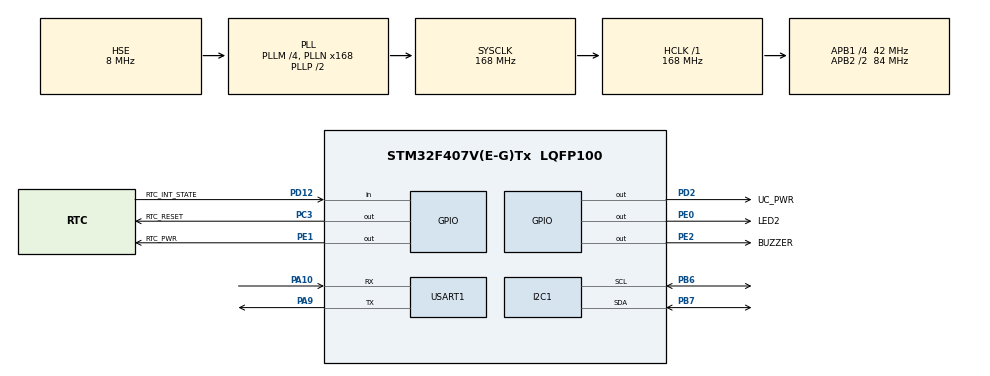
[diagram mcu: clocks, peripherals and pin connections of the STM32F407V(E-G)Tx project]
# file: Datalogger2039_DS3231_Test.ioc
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Mcu.Family=STM32F4
RCC.PLLSourceVirtual=RCC_PLLSOURCE_HSE
PD12.GPIO_Label=RTC_INT_STATE
PH0-OSC_IN.Signal=RCC_OSC_IN
RCC.CortexFreq_Value=168000000
PA10.Mode=Asynchronous
PE2.GPIO_Speed=GPIO_SPEED_FREQ_VERY_HIGH
PD2.GPIO_Speed=GPIO_SPEED_FREQ_VERY_HIGH
RCC.APB1CLKDivider=RCC_HCLK_DIV4
PC3.GPIO_Speed=GPIO_SPEED_FREQ_VERY_HIGH
RCC.SYSCLKSource=RCC_SYSCLKSOURCE_PLLCLK
ProjectManager.StackSize=0x400
PC3.PinState=GPIO_PIN_SET
PE0.GPIO_Speed=GPIO_SPEED_FREQ_VERY_HIGH
PA9.Mode=Asynchronous
ProjectManager.TargetToolchain=STM32CubeIDE
I2C1.I2C_Mode=I2C_Fast
RCC.HCLKFreq_Value=168000000
RCC.APB2TimFreq_Value=168000000
PA9.Signal=USART1_TX
PB6.Signal=I2C1_SCL
PB6.Mode=I2C
PC3.Signal=GPIO_Output
PE1.Signal=GPIO_Output
RCC.LSE_VALUE=32768
RCC.AHBFreq_Value=168000000
PH0-OSC_IN.Mode=HSE-External-Oscillator
RCC.HSE_VALUE=8000000
PD2.PinState=GPIO_PIN_SET
board=custom
RCC.VCOOutputFreq_Value=336000000
PE1.GPIO_Label=RTC_PWR
RCC.APB2Freq_Value=84000000
PE1.GPIO_Speed=GPIO_SPEED_FREQ_VERY_HIGH
PH1-OSC_OUT.Signal=RCC_OSC_OUT
PE2.Signal=GPIO_Output
PB7.Signal=I2C1_SDA
Mcu.Name=STM32F407V(E-G)Tx
PE0.Signal=GPIO_Output
PH1-OSC_OUT.Mode=HSE-External-Oscillator
RCC.48MHZClocksFreq_Value=84000000
RCC.SYSCLKFreq_VALUE=168000000
Mcu.Package=LQFP100
PD12.Signal=GPIO_Input
USART1.VirtualMode=VM_ASYNC
PB7.Mode=I2C
PA10.Signal=USART1_RX
ProjectManager.HeapSize=0x200
PE0.GPIO_Label=LED2
RCC.HSI_VALUE=16000000
NVIC.PriorityGroup=NVIC_PRIORITYGROUP_4
RCC.APB2CLKDivider=RCC_HCLK_DIV2
RCC.PLLM=4
RCC.PLLN=168
RCC.APB1TimFreq_Value=84000000
PC3.GPIO_Label=RTC_RESET
PC3.GPIO_ModeDefaultOutputPP=GPIO_MODE_OUTPUT_OD
PD2.Signal=GPIO_Output
RCC.APB1Freq_Value=42000000
PE2.GPIO_Label=BUZZER
PD2.GPIO_Label=UC_PWR

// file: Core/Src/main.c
/* USER CODE BEGIN Header */
/**
 ******************************************************************************
 * @file           : main.c
 * @brief          : Main program body
 ******************************************************************************
 * @attention
 *
 * <h2><center>&copy; Copyright (c) 2021 STMicroelectronics.
 * All rights reserved.</center></h2>
 *
 * This software component is licensed by ST under BSD 3-Clause license,
 * the "License"; You may not use this file except in compliance with the
 * License. You may obtain a copy of the License at:
 *                        opensource.org/licenses/BSD-3-Clause
 *
 ******************************************************************************
 */

/* Datsheet note:
 *
 * I2C interface
 *
 * If a microcontroller connected to the DS3231 resets
 * because of a loss of VCC or other event, it is
 * possible that the microcontroller and DS3231 I2C
 * communications could become unsynchronized, e.g.,
 * the microcontroller resets while reading data from
 * the DS3231. When the microcontroller resets, the
 * DS3231 I2C interface may be placed into a known state
 * by toggling SCL until SDA is observed to be at a high level.
 */

/* USER CODE END Header */
#include "main.h"

/* USER CODE BEGIN Includes */
#include <stdio.h>
#include "DS3231.h"
/* USER CODE END Includes */

I2C_HandleTypeDef hi2c1;

UART_HandleTypeDef huart1;

/* USER CODE BEGIN PV */
volatile DS3231_Time_t tm1;
uint8_t tm1_seconds_old = 0;
uint8_t tm1_hours_old = 0;

uint32_t sysTick1000;
/* USER CODE END PV */

void SystemClock_Config(void);
static void MX_GPIO_Init(void);
static void MX_I2C1_Init(void);
static void MX_USART1_UART_Init(void);

int main(void) {

	/* MCU Configuration--------------------------------------------------------*/

	/* Reset of all peripherals, Initializes the Flash interface and the Systick. */
	HAL_Init();

	/* Configure the system clock */
	SystemClock_Config();

	/* Initialize all configured peripherals */
	MX_GPIO_Init();
	MX_I2C1_Init();
	MX_USART1_UART_Init();
	/* USER CODE BEGIN 2 */
	HAL_Delay(2000);

	UsrLog("RTC test");
	UsrLog("(After starting, turn off AC source and wait for RTC alarm)");
	UsrLog("(Need the battery to be connected and in a good state of charge)");
	UsrLog("(For turn on: AC source ou Button K1)");

	HAL_GPIO_WritePin(RTC_PWR_GPIO_Port, RTC_PWR_Pin, GPIO_PIN_SET); // I2C Power On
	UsrLog("I2C1, DS3231: Line power On");

	DS3231_init(&hi2c1);
	/* USER CODE END 2 */

	/* Infinite loop */
	while (1) {

		/* USER CODE BEGIN 3 */
		if (HAL_GetTick() >= (sysTick1000 + 1000)) {
			sysTick1000 = HAL_GetTick();

			HAL_GPIO_WritePin(RTC_PWR_GPIO_Port, RTC_PWR_Pin, GPIO_PIN_SET); // I2C Power On

			if (DS3231_GetDateTime(&tm1) == HAL_OK) {
				tm1_hours_old = tm1.minutes;
			} else {
				UsrLog("DS3231_GetDateTime ERROR");

				if (DS3231_GetDateTime(&tm1) == HAL_OK) {
					tm1_hours_old = tm1.minutes;
				} else {
					UsrLog("DS3231_GetDateTime ERROR");
					UsrLog(
							"If error persists, try removing AC power and battery");
				}
			}

			uint8_t alarmFlagBit = 0;

			if (HAL_GPIO_ReadPin(RTC_INT_STATE_GPIO_Port, RTC_INT_STATE_Pin)
					== GPIO_PIN_SET) {
				UsrLog("DS3231_Alarm flag");

				if (DS3231_Alarm(ALARM_1, &alarmFlagBit) != HAL_OK) {
					UsrLog("DS3231_Alarm 1 ERROR");
				}

				if (DS3231_Alarm(ALARM_2, &alarmFlagBit) != HAL_OK) {
					UsrLog("DS3231_Alarm 2 ERROR");
				}

				HAL_Delay(0);
			} else {

				if (tm1.seconds > 10) {
					/* Power Off */
					UsrLog(
							"Power Off (turn off AC source and wait for RTC alarm)");
					HAL_GPIO_WritePin(UC_PWR_GPIO_Port, UC_PWR_Pin,
							GPIO_PIN_RESET);

					HAL_Delay(1000);
				}
			}

			HAL_GPIO_WritePin(RTC_PWR_GPIO_Port, RTC_PWR_Pin, GPIO_PIN_RESET); // I2C Power Off

			UsrLog(
					"%u:%u:%u (Auto power off: if the seconds is greater than 10)",
					tm1.hours, tm1.minutes, tm1.seconds);
		}
	}
	/* USER CODE END 3 */
}

void SystemClock_Config(void) {
	RCC_OscInitTypeDef RCC_OscInitStruct = { 0 };
	RCC_ClkInitTypeDef RCC_ClkInitStruct = { 0 };

	/** Configure the main internal regulator output voltage
	 */
	__HAL_RCC_PWR_CLK_ENABLE();
	__HAL_PWR_VOLTAGESCALING_CONFIG(PWR_REGULATOR_VOLTAGE_SCALE1);
	/** Initializes the RCC Oscillators according to the specified parameters
	 * in the RCC_OscInitTypeDef structure.
	 */
	RCC_OscInitStruct.OscillatorType = RCC_OSCILLATORTYPE_HSE;
	RCC_OscInitStruct.HSEState = RCC_HSE_ON;
	RCC_OscInitStruct.PLL.PLLState = RCC_PLL_ON;
	RCC_OscInitStruct.PLL.PLLSource = RCC_PLLSOURCE_HSE;
	RCC_OscInitStruct.PLL.PLLM = 4;
	RCC_OscInitStruct.PLL.PLLN = 168;
	RCC_OscInitStruct.PLL.PLLP = RCC_PLLP_DIV2;
	RCC_OscInitStruct.PLL.PLLQ = 4;
	if (HAL_RCC_OscConfig(&RCC_OscInitStruct) != HAL_OK) {
		Error_Handler();
	}
	/** Initializes the CPU, AHB and APB buses clocks
	 */
	RCC_ClkInitStruct.ClockType = RCC_CLOCKTYPE_HCLK | RCC_CLOCKTYPE_SYSCLK
			| RCC_CLOCKTYPE_PCLK1 | RCC_CLOCKTYPE_PCLK2;
	RCC_ClkInitStruct.SYSCLKSource = RCC_SYSCLKSOURCE_PLLCLK;
	RCC_ClkInitStruct.AHBCLKDivider = RCC_SYSCLK_DIV1;
	RCC_ClkInitStruct.APB1CLKDivider = RCC_HCLK_DIV4;
	RCC_ClkInitStruct.APB2CLKDivider = RCC_HCLK_DIV2;

	if (HAL_RCC_ClockConfig(&RCC_ClkInitStruct, FLASH_LATENCY_5) != HAL_OK) {
		Error_Handler();
	}
}

static void MX_I2C1_Init(void) {

	hi2c1.Instance = I2C1;
	hi2c1.Init.ClockSpeed = 400000;
	hi2c1.Init.DutyCycle = I2C_DUTYCYCLE_2;
	hi2c1.Init.OwnAddress1 = 0;
	hi2c1.Init.AddressingMode = I2C_ADDRESSINGMODE_7BIT;
	hi2c1.Init.DualAddressMode = I2C_DUALADDRESS_DISABLE;
	hi2c1.Init.OwnAddress2 = 0;
	hi2c1.Init.GeneralCallMode = I2C_GENERALCALL_DISABLE;
	hi2c1.Init.NoStretchMode = I2C_NOSTRETCH_DISABLE;
	if (HAL_I2C_Init(&hi2c1) != HAL_OK) {
		Error_Handler();
	}

}

static void MX_USART1_UART_Init(void) {

	huart1.Instance = USART1;
	huart1.Init.BaudRate = 115200;
	huart1.Init.WordLength = UART_WORDLENGTH_8B;
	huart1.Init.StopBits = UART_STOPBITS_1;
	huart1.Init.Parity = UART_PARITY_NONE;
	huart1.Init.Mode = UART_MODE_TX_RX;
	huart1.Init.HwFlowCtl = UART_HWCONTROL_NONE;
	huart1.Init.OverSampling = UART_OVERSAMPLING_16;
	if (HAL_UART_Init(&huart1) != HAL_OK) {
		Error_Handler();
	}

}

static void MX_GPIO_Init(void) {
	GPIO_InitTypeDef GPIO_InitStruct = { 0 };

	/* GPIO Ports Clock Enable */
	__HAL_RCC_GPIOE_CLK_ENABLE();
	__HAL_RCC_GPIOH_CLK_ENABLE();
	__HAL_RCC_GPIOC_CLK_ENABLE();
	__HAL_RCC_GPIOD_CLK_ENABLE();
	__HAL_RCC_GPIOA_CLK_ENABLE();
	__HAL_RCC_GPIOB_CLK_ENABLE();

	/*Configure GPIO pin Output Level */
	HAL_GPIO_WritePin(GPIOE, BUZZER_Pin | LED2_Pin | RTC_PWR_Pin,
			GPIO_PIN_RESET);

	/*Configure GPIO pin Output Level */
	HAL_GPIO_WritePin(RTC_RESET_GPIO_Port, RTC_RESET_Pin, GPIO_PIN_SET);

	/*Configure GPIO pin Output Level */
	HAL_GPIO_WritePin(UC_PWR_GPIO_Port, UC_PWR_Pin, GPIO_PIN_SET);

	/*Configure GPIO pins : BUZZER_Pin LED2_Pin RTC_PWR_Pin */
	GPIO_InitStruct.Pin = BUZZER_Pin | LED2_Pin | RTC_PWR_Pin;
	GPIO_InitStruct.Mode = GPIO_MODE_OUTPUT_PP;
	GPIO_InitStruct.Pull = GPIO_NOPULL;
	GPIO_InitStruct.Speed = GPIO_SPEED_FREQ_VERY_HIGH;
	HAL_GPIO_Init(GPIOE, &GPIO_InitStruct);

	/*Configure GPIO pin : RTC_RESET_Pin */
	GPIO_InitStruct.Pin = RTC_RESET_Pin;
	GPIO_InitStruct.Mode = GPIO_MODE_OUTPUT_OD;
	GPIO_InitStruct.Pull = GPIO_NOPULL;
	GPIO_InitStruct.Speed = GPIO_SPEED_FREQ_VERY_HIGH;
	HAL_GPIO_Init(RTC_RESET_GPIO_Port, &GPIO_InitStruct);

	/*Configure GPIO pin : RTC_INT_STATE_Pin */
	GPIO_InitStruct.Pin = RTC_INT_STATE_Pin;
	GPIO_InitStruct.Mode = GPIO_MODE_INPUT;
	GPIO_InitStruct.Pull = GPIO_NOPULL;
	HAL_GPIO_Init(RTC_INT_STATE_GPIO_Port, &GPIO_InitStruct);

	/*Configure GPIO pin : UC_PWR_Pin */
	GPIO_InitStruct.Pin = UC_PWR_Pin;
	GPIO_InitStruct.Mode = GPIO_MODE_OUTPUT_PP;
	GPIO_InitStruct.Pull = GPIO_NOPULL;
	GPIO_InitStruct.Speed = GPIO_SPEED_FREQ_VERY_HIGH;
	HAL_GPIO_Init(UC_PWR_GPIO_Port, &GPIO_InitStruct);

}

/* USER CODE BEGIN 4 */
int __io_putchar(int ch) {
	uint8_t c[1];
	c[0] = ch & 0x00FF;
	HAL_UART_Transmit(&huart1, &*c, 1, 10);
	return ch;
}

int _write(int file, char *ptr, int len) {
	int DataIdx;
	for (DataIdx = 0; DataIdx < len; DataIdx++) {
		__io_putchar(*ptr++);
	}
	return len;
}
/* USER CODE END 4 */

void Error_Handler(void) {
	__disable_irq();
	while (1) {
	}
}

/************************ (C) COPYRIGHT STMicroelectronics *****END OF FILE****/
